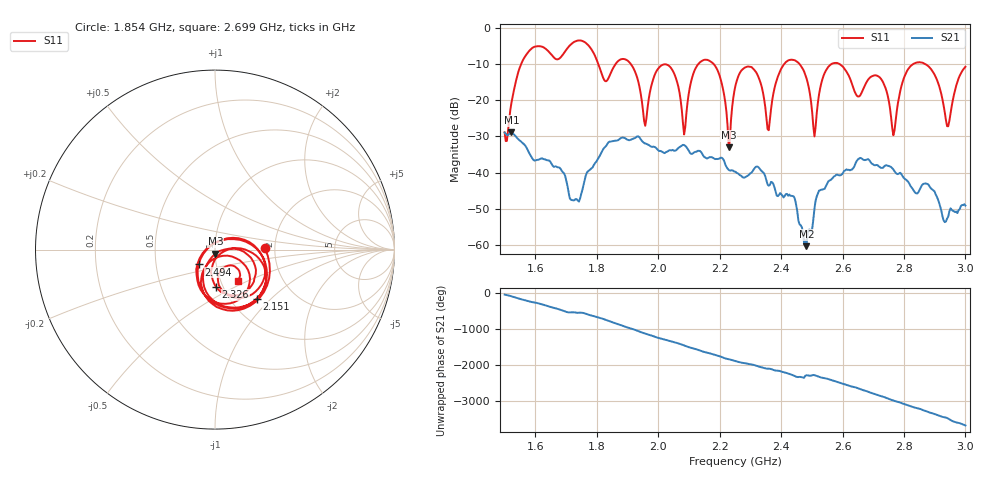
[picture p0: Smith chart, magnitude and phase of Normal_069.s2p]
# HZ S RI R 50
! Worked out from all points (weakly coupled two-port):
!   404 points, 1.5 GHz to 3 GHz, reference 50 ohm
!   highest |S21| = -28.91 dB at 1.522 GHz (marker M1); lowest = -60.2 dB at 2.483 GHz (marker M2)
!   lowest |S11| = -33.0 dB at 2.23 GHz (marker M3), VSWR 1.05, Z = 50.2 - j2.24 ohm
!   |S11| at or under -10 dB: 1.91 GHz to 2.131 GHz (221 MHz wide, 10.9 % of centre); 2.18 GHz to 2.411 GHz (231 MHz wide, 10.1 % of centre); 2.589 GHz to 2.831 GHz (242.5 MHz wide, 8.95 % of centre) (the widest 3 of 7)
!   S12 and S22 are empty: the file has one direction only
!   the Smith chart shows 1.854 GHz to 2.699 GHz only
!   S11 on the Smith chart (normalised r, x): 1.854 GHz: 1.77, +0.03; 2.151 GHz: 1.31, -0.83; 2.326 GHz: 0.93, -0.40; 2.494 GHz: 0.82, -0.14; 2.699 GHz: 1.20, -0.44
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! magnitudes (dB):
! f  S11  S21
! 1.5 GHz  -28.9  -29.0
! 1.522 GHz  -20.7  -28.9
! 1.753 GHz  -3.7  -44.7
! 1.854 GHz  -11.1  -31.3
! 1.958 GHz  -27.1  -32.0
! 2.002 GHz  -11.1  -34.0
! 2.084 GHz  -29.5  -32.4
! 2.151 GHz  -8.9  -35.7
! 2.23 GHz  -33.0  -39.2
! 2.252 GHz  -15.9  -39.8
! 2.326 GHz  -13.6  -38.5
! 2.36 GHz  -28.3  -43.6
! 2.412 GHz  -9.9  -46.4
! 2.483 GHz  -14.0  -60.2
! 2.494 GHz  -18.2  -55.7
! 2.501 GHz  -23.4  -55.5
! 2.565 GHz  -10.0  -41.8
! 2.699 GHz  -13.3  -37.6
! 2.751 GHz  -20.2  -38.2
! 2.859 GHz  -9.7  -43.4
! 2.944 GHz  -27.2  -52.1
! 3 GHz  -10.8  -49.1
